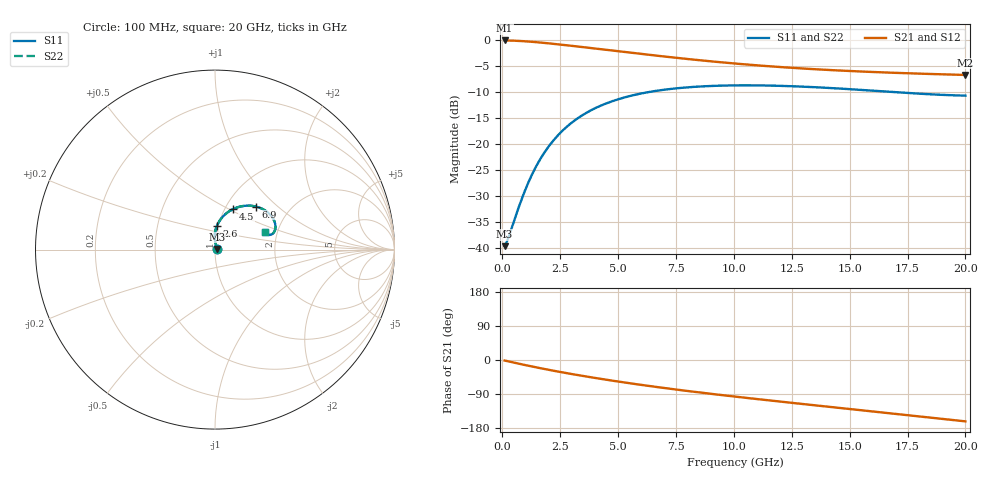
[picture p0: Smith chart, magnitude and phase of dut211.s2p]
! Created with skrf 1.9.0 (http://scikit-rf.org).
# GHz S RI R 50.0
!freq ReS11 ImS11 ReS21 ImS21 ReS12 ImS12 ReS22 ImS22
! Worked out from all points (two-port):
!   200 points, 100 MHz to 20 GHz, reference 50 ohm
!   highest |S21| = -0.09 dB at 100 MHz (marker M1); lowest = -6.7 dB at 20 GHz (marker M2)
!   |S21| within 3 dB of the highest: start of sweep to 6.825 GHz
!   lowest |S11| = -39.6 dB at 100 MHz (marker M3), VSWR 1.02, Z = 51 + j0.315 ohm
!   |S11| at or under -10 dB: start of sweep to 6.328 GHz; 16.89 GHz to end of sweep
!   |S22| runs from -39.6 to -8.7 dB; largest |S21 - S12| = 2.2e-15
!   S11 on the Smith chart (normalised r, x): 100 MHz: 1.02, +0.01; 2.6 GHz: 0.99, +0.27; 4.5 GHz: 1.09, +0.52; 6.9 GHz: 1.36, +0.73; 20 GHz: 1.71, +0.36
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0.1  0.01 0.00309  0.9894 -0.0238  0.9894 -0.0238  0.01 0.00309
0.2  0.00975 0.00628  0.9879 -0.0476  0.9879 -0.0476  0.00975 0.00628
0.3  0.00933 0.0095  0.9854 -0.0712  0.9854 -0.0712  0.00933 0.0095
0.9  0.00379 0.032  0.9524 -0.2058  0.9524 -0.2058  0.00379 0.032
1.1  0.00161 0.0414  0.9355 -0.2471  0.9355 -0.2471  0.00161 0.0414
1.4  -0.000878 0.0575  0.9059 -0.3049  0.9059 -0.3049  -0.000878 0.0575
1.7  -0.00161 0.0754  0.8722 -0.3576  0.8722 -0.3576  -0.00161 0.0754
2  2.74e-05 0.0947  0.8356 -0.4052  0.8356 -0.4052  2.74e-05 0.0947
2.6  0.0113 0.1341  0.7565 -0.4857  0.7565 -0.4857  0.0113 0.1341
3  0.0245 0.1589  0.7014 -0.5295  0.7014 -0.5295  0.0245 0.1589
3.5  0.0462 0.1863  0.6316 -0.5742  0.6316 -0.5742  0.0462 0.1863
4.5  0.0999 0.2253  0.4935 -0.6349  0.4935 -0.6349  0.0999 0.2253
5.6  0.1626 0.2437  0.3511 -0.6658  0.3511 -0.6658  0.1626 0.2437
6.8  0.2235 0.2408  0.2129 -0.6686  0.2129 -0.6686  0.2235 0.2408
6.9  0.228 0.2397  0.2023 -0.6677  0.2023 -0.6677  0.228 0.2397
8.4  0.2837 0.215  0.0587 -0.6404  0.0587 -0.6404  0.2837 0.215
10.1  0.321 0.177  -0.0717 -0.5885  -0.0717 -0.5885  0.321 0.177
11.7  0.3355 0.1418  -0.1696 -0.5292  -0.1696 -0.5292  0.3355 0.1418
13.4  0.3349 0.1112  -0.2538 -0.46  -0.2538 -0.46  0.3349 0.1112
16.7  0.3075 0.082  -0.3732 -0.3112  -0.3732 -0.3112  0.3075 0.082
18.4  0.2896 0.0841  -0.4141 -0.2269  -0.4141 -0.2269  0.2896 0.0841
20  0.2759 0.0958  -0.4387 -0.1433  -0.4387 -0.1433  0.2759 0.0958
